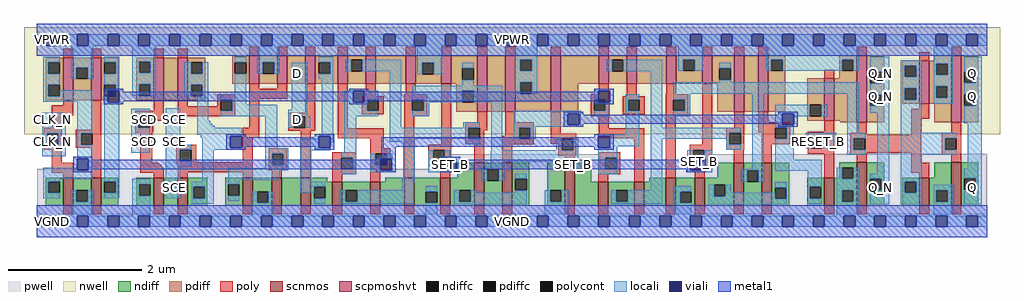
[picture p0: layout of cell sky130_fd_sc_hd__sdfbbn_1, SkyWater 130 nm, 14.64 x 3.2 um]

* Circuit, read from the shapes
.subckt sky130_fd_sc_hd__sdfbbn_1 CLK_N D RESET_B SCD SCE SET_B VGND VNB VPB VPWR Q Q_N
XM1 VGND CLK_N n1 VNB sky130_fd_pr__nfet_01v8 w=0.42 l=0.15
XM2 n2 n1 VGND VNB sky130_fd_pr__nfet_01v8 w=0.42 l=0.15
XM3 n3 SCD VGND VNB sky130_fd_pr__nfet_01v8 w=0.42 l=0.15
XM4 n4 SCE n3 VNB sky130_fd_pr__nfet_01v8 w=0.42 l=0.15
XM5 VGND SCE n5 VNB sky130_fd_pr__nfet_01v8 w=0.42 l=0.15
XM6 n6 n5 VGND VNB sky130_fd_pr__nfet_01v8 w=0.42 l=0.15
XM7 n4 D n6 VNB sky130_fd_pr__nfet_01v8 w=0.42 l=0.15
XM8 n7 n2 n4 VNB sky130_fd_pr__nfet_01v8 w=0.36 l=0.15
XM9 n8 n1 n7 VNB sky130_fd_pr__nfet_01v8 w=0.36 l=0.15
XM10 VGND n9 n8 VNB sky130_fd_pr__nfet_01v8 w=0.42 l=0.15
XM11 n10 SET_B VGND VNB sky130_fd_pr__nfet_01v8 w=0.42 l=0.15
XM12 n9 n7 n10 VNB sky130_fd_pr__nfet_01v8 w=0.64 l=0.15
XM13 n10 n11 n9 VNB sky130_fd_pr__nfet_01v8 w=0.64 l=0.15
XM14 n12 n9 VGND VNB sky130_fd_pr__nfet_01v8 w=0.64 l=0.15
XM15 n13 n1 n12 VNB sky130_fd_pr__nfet_01v8 w=0.36 l=0.15
XM16 n14 n2 n13 VNB sky130_fd_pr__nfet_01v8 w=0.36 l=0.15
XM17 VGND n15 n14 VNB sky130_fd_pr__nfet_01v8 w=0.42 l=0.15
XM18 n16 SET_B VGND VNB sky130_fd_pr__nfet_01v8 w=0.42 l=0.15
XM19 n15 n13 n16 VNB sky130_fd_pr__nfet_01v8 w=0.64 l=0.15
XM20 n16 n11 n15 VNB sky130_fd_pr__nfet_01v8 w=0.64 l=0.15
XM21 VGND RESET_B n11 VNB sky130_fd_pr__nfet_01v8 w=0.42 l=0.15
XM22 Q_N n15 VGND VNB sky130_fd_pr__nfet_01v8 w=0.65 l=0.15
XM23 VGND n15 n17 VNB sky130_fd_pr__nfet_01v8 w=0.42 l=0.15
XM24 Q n17 VGND VNB sky130_fd_pr__nfet_01v8 w=0.65 l=0.15
XM25 VPWR CLK_N n1 VPB sky130_fd_pr__pfet_01v8_hvt w=0.64 l=0.15
XM26 n2 n1 VPWR VPB sky130_fd_pr__pfet_01v8_hvt w=0.64 l=0.15
XM27 n18 SCD VPWR VPB sky130_fd_pr__pfet_01v8_hvt w=0.64 l=0.15
XM28 n4 n5 n18 VPB sky130_fd_pr__pfet_01v8_hvt w=0.64 l=0.15
XM29 VPWR SCE n5 VPB sky130_fd_pr__pfet_01v8_hvt w=0.42 l=0.15
XM30 n19 SCE VPWR VPB sky130_fd_pr__pfet_01v8_hvt w=0.42 l=0.15
XM31 n4 D n19 VPB sky130_fd_pr__pfet_01v8_hvt w=0.42 l=0.15
XM32 n7 n1 n4 VPB sky130_fd_pr__pfet_01v8_hvt w=0.42 l=0.15
XM33 n20 n2 n7 VPB sky130_fd_pr__pfet_01v8_hvt w=0.42 l=0.15
XM34 VPWR n9 n20 VPB sky130_fd_pr__pfet_01v8_hvt w=0.42 l=0.15
XM35 n9 SET_B VPWR VPB sky130_fd_pr__pfet_01v8_hvt w=0.42 l=0.15
XM36 n21 n7 n9 VPB sky130_fd_pr__pfet_01v8_hvt w=0.84 l=0.15
XM37 VPWR n11 n21 VPB sky130_fd_pr__pfet_01v8_hvt w=0.84 l=0.15
XM38 n22 n9 VPWR VPB sky130_fd_pr__pfet_01v8_hvt w=0.84 l=0.15
XM39 n13 n2 n22 VPB sky130_fd_pr__pfet_01v8_hvt w=0.42 l=0.15
XM40 n23 n1 n13 VPB sky130_fd_pr__pfet_01v8_hvt w=0.42 l=0.15
XM41 VPWR n15 n23 VPB sky130_fd_pr__pfet_01v8_hvt w=0.42 l=0.15
XM42 n15 SET_B VPWR VPB sky130_fd_pr__pfet_01v8_hvt w=0.42 l=0.15
XM43 n24 n13 n15 VPB sky130_fd_pr__pfet_01v8_hvt w=0.84 l=0.15
XM44 VPWR n11 n24 VPB sky130_fd_pr__pfet_01v8_hvt w=0.84 l=0.15
XM45 VPWR RESET_B n11 VPB sky130_fd_pr__pfet_01v8_hvt w=0.64 l=0.15
XM46 Q_N n15 VPWR VPB sky130_fd_pr__pfet_01v8_hvt w=1 l=0.15
XM47 VPWR n15 n17 VPB sky130_fd_pr__pfet_01v8_hvt w=0.64 l=0.15
XM48 Q n17 VPWR VPB sky130_fd_pr__pfet_01v8_hvt w=1 l=0.15
.ends

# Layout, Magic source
magic
tech sky130B
magscale 1 2
<< nwell >>
rect -38 261 2890 582
<< pwell >>
rect 2382 201 2851 203
rect 1236 157 1690 201
rect 2015 157 2851 201
rect 1 21 2851 157
rect 29 -17 63 21
<< scnmos >>
rect 79 47 109 131
rect 163 47 193 131
rect 351 47 381 131
rect 423 47 453 131
rect 618 47 648 131
rect 705 47 735 131
rect 792 47 822 131
rect 887 47 917 119
rect 1000 47 1030 119
rect 1102 47 1132 131
rect 1211 47 1241 131
rect 1312 47 1342 175
rect 1396 47 1426 175
rect 1584 47 1614 175
rect 1684 47 1714 119
rect 1792 47 1822 119
rect 1887 47 1917 131
rect 1974 47 2004 131
rect 2091 47 2121 175
rect 2175 47 2205 175
rect 2363 47 2393 131
rect 2460 47 2490 177
rect 2648 47 2678 131
rect 2743 47 2773 177
<< scpmoshvt >>
rect 79 363 109 491
rect 163 363 193 491
rect 351 363 381 491
rect 423 363 453 491
rect 638 413 668 497
rect 722 413 752 497
rect 806 413 836 497
rect 903 413 933 497
rect 987 413 1017 497
rect 1107 413 1137 497
rect 1213 413 1243 497
rect 1321 329 1351 497
rect 1405 329 1435 497
rect 1542 329 1572 497
rect 1686 413 1716 497
rect 1770 413 1800 497
rect 1888 413 1918 497
rect 1996 413 2026 497
rect 2092 329 2122 497
rect 2164 329 2194 497
rect 2363 301 2393 429
rect 2460 297 2490 497
rect 2648 353 2678 481
rect 2743 297 2773 497
<< ndiff >>
rect 27 119 79 131
rect 27 85 35 119
rect 69 85 79 119
rect 27 47 79 85
rect 109 93 163 131
rect 109 59 119 93
rect 153 59 163 93
rect 109 47 163 59
rect 193 119 245 131
rect 193 85 203 119
rect 237 85 245 119
rect 193 47 245 85
rect 299 111 351 131
rect 299 77 307 111
rect 341 77 351 111
rect 299 47 351 77
rect 381 47 423 131
rect 453 103 512 131
rect 453 69 470 103
rect 504 69 512 103
rect 453 47 512 69
rect 566 111 618 131
rect 566 77 574 111
rect 608 77 618 111
rect 566 47 618 77
rect 648 89 705 131
rect 648 55 661 89
rect 695 55 705 89
rect 648 47 705 55
rect 735 47 792 131
rect 822 119 872 131
rect 1262 131 1312 175
rect 1045 119 1102 131
rect 822 103 887 119
rect 822 69 832 103
rect 866 69 887 103
rect 822 47 887 69
rect 917 93 1000 119
rect 917 59 927 93
rect 961 59 1000 93
rect 917 47 1000 59
rect 1030 47 1102 119
rect 1132 89 1211 131
rect 1132 55 1167 89
rect 1201 55 1211 89
rect 1132 47 1211 55
rect 1241 93 1312 131
rect 1241 59 1268 93
rect 1302 59 1312 93
rect 1241 47 1312 59
rect 1342 156 1396 175
rect 1342 122 1352 156
rect 1386 122 1396 156
rect 1342 47 1396 122
rect 1426 127 1478 175
rect 1426 93 1436 127
rect 1470 93 1478 127
rect 1426 47 1478 93
rect 1532 93 1584 175
rect 1532 59 1540 93
rect 1574 59 1584 93
rect 1532 47 1584 59
rect 1614 119 1664 175
rect 2041 131 2091 175
rect 1837 119 1887 131
rect 1614 47 1684 119
rect 1714 93 1792 119
rect 1714 59 1739 93
rect 1773 59 1792 93
rect 1714 47 1792 59
rect 1822 47 1887 119
rect 1917 89 1974 131
rect 1917 55 1930 89
rect 1964 55 1974 89
rect 1917 47 1974 55
rect 2004 109 2091 131
rect 2004 75 2032 109
rect 2066 75 2091 109
rect 2004 47 2091 75
rect 2121 153 2175 175
rect 2121 119 2131 153
rect 2165 119 2175 153
rect 2121 47 2175 119
rect 2205 101 2257 175
rect 2408 161 2460 177
rect 2408 131 2416 161
rect 2205 67 2215 101
rect 2249 67 2257 101
rect 2205 47 2257 67
rect 2311 103 2363 131
rect 2311 69 2319 103
rect 2353 69 2363 103
rect 2311 47 2363 69
rect 2393 127 2416 131
rect 2450 127 2460 161
rect 2393 93 2460 127
rect 2393 59 2416 93
rect 2450 59 2460 93
rect 2393 47 2460 59
rect 2490 127 2542 177
rect 2693 131 2743 177
rect 2490 93 2500 127
rect 2534 93 2542 127
rect 2490 47 2542 93
rect 2596 119 2648 131
rect 2596 85 2604 119
rect 2638 85 2648 119
rect 2596 47 2648 85
rect 2678 93 2743 131
rect 2678 59 2699 93
rect 2733 59 2743 93
rect 2678 47 2743 59
rect 2773 129 2825 177
rect 2773 95 2783 129
rect 2817 95 2825 129
rect 2773 47 2825 95
<< pdiff >>
rect 27 477 79 491
rect 27 443 35 477
rect 69 443 79 477
rect 27 409 79 443
rect 27 375 35 409
rect 69 375 79 409
rect 27 363 79 375
rect 109 461 163 491
rect 109 427 119 461
rect 153 427 163 461
rect 109 363 163 427
rect 193 477 245 491
rect 193 443 203 477
rect 237 443 245 477
rect 193 409 245 443
rect 193 375 203 409
rect 237 375 245 409
rect 193 363 245 375
rect 299 479 351 491
rect 299 445 307 479
rect 341 445 351 479
rect 299 411 351 445
rect 299 377 307 411
rect 341 377 351 411
rect 299 363 351 377
rect 381 363 423 491
rect 453 477 505 491
rect 453 443 463 477
rect 497 443 505 477
rect 453 409 505 443
rect 586 477 638 497
rect 586 443 594 477
rect 628 443 638 477
rect 586 413 638 443
rect 668 477 722 497
rect 668 443 678 477
rect 712 443 722 477
rect 668 413 722 443
rect 752 413 806 497
rect 836 477 903 497
rect 836 443 846 477
rect 880 443 903 477
rect 836 413 903 443
rect 933 484 987 497
rect 933 450 943 484
rect 977 450 987 484
rect 933 413 987 450
rect 1017 413 1107 497
rect 1137 475 1213 497
rect 1137 441 1157 475
rect 1191 441 1213 475
rect 1137 413 1213 441
rect 1243 459 1321 497
rect 1243 425 1277 459
rect 1311 425 1321 459
rect 1243 413 1321 425
rect 453 375 463 409
rect 497 375 505 409
rect 453 363 505 375
rect 1259 391 1321 413
rect 1259 357 1277 391
rect 1311 357 1321 391
rect 1259 329 1321 357
rect 1351 329 1405 497
rect 1435 485 1542 497
rect 1435 451 1451 485
rect 1485 451 1542 485
rect 1435 417 1542 451
rect 1435 383 1451 417
rect 1485 383 1542 417
rect 1435 329 1542 383
rect 1572 413 1686 497
rect 1716 484 1770 497
rect 1716 450 1726 484
rect 1760 450 1770 484
rect 1716 413 1770 450
rect 1800 413 1888 497
rect 1918 485 1996 497
rect 1918 451 1940 485
rect 1974 451 1996 485
rect 1918 413 1996 451
rect 2026 459 2092 497
rect 2026 425 2048 459
rect 2082 425 2092 459
rect 2026 413 2092 425
rect 1572 329 1624 413
rect 2041 329 2092 413
rect 2122 329 2164 497
rect 2194 485 2246 497
rect 2194 451 2204 485
rect 2238 451 2246 485
rect 2408 485 2460 497
rect 2194 329 2246 451
rect 2408 451 2416 485
rect 2450 451 2460 485
rect 2408 429 2460 451
rect 2311 349 2363 429
rect 2311 315 2319 349
rect 2353 315 2363 349
rect 2311 301 2363 315
rect 2393 301 2460 429
rect 2410 297 2460 301
rect 2490 448 2542 497
rect 2693 481 2743 497
rect 2490 414 2500 448
rect 2534 414 2542 448
rect 2490 380 2542 414
rect 2490 346 2500 380
rect 2534 346 2542 380
rect 2596 467 2648 481
rect 2596 433 2604 467
rect 2638 433 2648 467
rect 2596 399 2648 433
rect 2596 365 2604 399
rect 2638 365 2648 399
rect 2596 353 2648 365
rect 2678 473 2743 481
rect 2678 439 2699 473
rect 2733 439 2743 473
rect 2678 405 2743 439
rect 2678 371 2698 405
rect 2732 371 2743 405
rect 2678 353 2743 371
rect 2490 297 2542 346
rect 2693 297 2743 353
rect 2773 449 2825 497
rect 2773 415 2783 449
rect 2817 415 2825 449
rect 2773 381 2825 415
rect 2773 347 2783 381
rect 2817 347 2825 381
rect 2773 297 2825 347
<< ndiffc >>
rect 35 85 69 119
rect 119 59 153 93
rect 203 85 237 119
rect 307 77 341 111
rect 470 69 504 103
rect 574 77 608 111
rect 661 55 695 89
rect 832 69 866 103
rect 927 59 961 93
rect 1167 55 1201 89
rect 1268 59 1302 93
rect 1352 122 1386 156
rect 1436 93 1470 127
rect 1540 59 1574 93
rect 1739 59 1773 93
rect 1930 55 1964 89
rect 2032 75 2066 109
rect 2131 119 2165 153
rect 2215 67 2249 101
rect 2319 69 2353 103
rect 2416 127 2450 161
rect 2416 59 2450 93
rect 2500 93 2534 127
rect 2604 85 2638 119
rect 2699 59 2733 93
rect 2783 95 2817 129
<< pdiffc >>
rect 35 443 69 477
rect 35 375 69 409
rect 119 427 153 461
rect 203 443 237 477
rect 203 375 237 409
rect 307 445 341 479
rect 307 377 341 411
rect 463 443 497 477
rect 594 443 628 477
rect 678 443 712 477
rect 846 443 880 477
rect 943 450 977 484
rect 1157 441 1191 475
rect 1277 425 1311 459
rect 463 375 497 409
rect 1277 357 1311 391
rect 1451 451 1485 485
rect 1451 383 1485 417
rect 1726 450 1760 484
rect 1940 451 1974 485
rect 2048 425 2082 459
rect 2204 451 2238 485
rect 2416 451 2450 485
rect 2319 315 2353 349
rect 2500 414 2534 448
rect 2500 346 2534 380
rect 2604 433 2638 467
rect 2604 365 2638 399
rect 2699 439 2733 473
rect 2698 371 2732 405
rect 2783 415 2817 449
rect 2783 347 2817 381
<< poly >>
rect 79 491 109 517
rect 163 491 193 517
rect 351 491 381 517
rect 423 491 453 517
rect 638 497 668 523
rect 722 497 752 523
rect 806 497 836 523
rect 903 497 933 523
rect 987 497 1017 523
rect 1107 497 1137 523
rect 1213 497 1243 523
rect 1321 497 1351 523
rect 1405 497 1435 523
rect 1542 497 1572 523
rect 1686 497 1716 523
rect 1770 497 1800 523
rect 1888 497 1918 523
rect 1996 497 2026 523
rect 2092 497 2122 523
rect 2164 497 2194 523
rect 2460 497 2490 523
rect 638 397 668 413
rect 722 397 752 413
rect 542 365 596 381
rect 79 348 109 363
rect 45 318 109 348
rect 45 280 75 318
rect 21 264 75 280
rect 163 274 193 363
rect 351 331 381 363
rect 21 230 31 264
rect 65 230 75 264
rect 21 214 75 230
rect 117 264 193 274
rect 295 315 381 331
rect 423 345 453 363
rect 542 345 552 365
rect 423 331 552 345
rect 586 331 596 365
rect 423 318 596 331
rect 638 367 752 397
rect 423 317 594 318
rect 423 315 592 317
rect 295 281 305 315
rect 339 301 381 315
rect 339 281 349 301
rect 638 281 668 367
rect 806 325 836 413
rect 295 265 349 281
rect 117 230 133 264
rect 167 230 193 264
rect 117 220 193 230
rect 45 176 75 214
rect 45 146 109 176
rect 79 131 109 146
rect 163 131 193 220
rect 311 176 346 265
rect 618 251 668 281
rect 755 315 836 325
rect 755 281 771 315
rect 805 281 836 315
rect 755 271 836 281
rect 903 279 933 413
rect 987 375 1017 413
rect 1107 381 1137 413
rect 975 365 1041 375
rect 975 331 991 365
rect 1025 331 1041 365
rect 975 321 1041 331
rect 1102 365 1171 381
rect 1102 331 1127 365
rect 1161 331 1171 365
rect 1102 315 1171 331
rect 418 214 479 230
rect 418 180 429 214
rect 463 180 479 214
rect 418 177 479 180
rect 618 177 648 251
rect 311 174 362 176
rect 419 175 648 177
rect 311 172 366 174
rect 420 173 648 175
rect 311 170 369 172
rect 421 170 648 173
rect 311 169 371 170
rect 311 167 373 169
rect 422 167 648 170
rect 311 164 375 167
rect 311 161 377 164
rect 311 157 379 161
rect 311 146 381 157
rect 351 131 381 146
rect 423 147 648 167
rect 696 203 750 219
rect 696 169 706 203
rect 740 169 750 203
rect 696 153 750 169
rect 423 131 453 147
rect 618 131 648 147
rect 705 131 735 153
rect 792 131 822 271
rect 903 249 1041 279
rect 1000 219 1041 249
rect 887 191 958 207
rect 887 157 914 191
rect 948 157 958 191
rect 887 141 958 157
rect 1000 203 1060 219
rect 1000 169 1016 203
rect 1050 169 1060 203
rect 1000 153 1060 169
rect 887 119 917 141
rect 1000 119 1030 153
rect 1102 131 1132 315
rect 1213 229 1243 413
rect 1686 381 1716 413
rect 1662 365 1716 381
rect 1770 375 1800 413
rect 1888 381 1918 413
rect 1662 331 1672 365
rect 1706 331 1716 365
rect 1321 297 1351 329
rect 1285 281 1351 297
rect 1285 247 1295 281
rect 1329 273 1351 281
rect 1405 297 1435 329
rect 1405 281 1491 297
rect 1329 247 1342 273
rect 1405 257 1447 281
rect 1285 231 1342 247
rect 1174 213 1243 229
rect 1174 179 1190 213
rect 1224 179 1241 213
rect 1174 163 1241 179
rect 1312 175 1342 231
rect 1396 247 1447 257
rect 1481 247 1491 281
rect 1396 231 1491 247
rect 1542 263 1572 329
rect 1662 315 1716 331
rect 1758 365 1824 375
rect 1758 331 1774 365
rect 1808 331 1824 365
rect 1758 321 1824 331
rect 1887 365 1954 381
rect 1887 331 1910 365
rect 1944 331 1954 365
rect 1686 279 1716 315
rect 1887 315 1954 331
rect 1542 247 1619 263
rect 1686 249 1822 279
rect 1542 233 1575 247
rect 1396 175 1426 231
rect 1565 213 1575 233
rect 1609 213 1619 247
rect 1565 197 1619 213
rect 1584 175 1614 197
rect 1684 191 1750 207
rect 1211 131 1241 163
rect 1684 157 1706 191
rect 1740 157 1750 191
rect 1684 141 1750 157
rect 1684 119 1714 141
rect 1792 119 1822 249
rect 1887 131 1917 315
rect 1996 229 2026 413
rect 2363 429 2393 455
rect 2092 281 2122 329
rect 1959 213 2026 229
rect 2068 265 2122 281
rect 2164 297 2194 329
rect 2164 281 2260 297
rect 2164 267 2216 281
rect 2068 231 2078 265
rect 2112 231 2122 265
rect 2068 215 2122 231
rect 2175 247 2216 267
rect 2250 247 2260 281
rect 2363 269 2393 301
rect 2648 481 2678 507
rect 2743 497 2773 523
rect 2648 337 2678 353
rect 2623 307 2678 337
rect 2175 231 2260 247
rect 2313 253 2393 269
rect 2460 265 2490 297
rect 1959 179 1969 213
rect 2003 179 2026 213
rect 1959 163 2026 179
rect 2091 175 2121 215
rect 2175 175 2205 231
rect 2313 219 2323 253
rect 2357 219 2393 253
rect 2313 203 2393 219
rect 1974 131 2004 163
rect 2363 131 2393 203
rect 2441 259 2490 265
rect 2623 259 2653 307
rect 2743 265 2773 297
rect 2441 249 2653 259
rect 2441 215 2451 249
rect 2485 215 2653 249
rect 2441 205 2653 215
rect 2441 199 2490 205
rect 2460 177 2490 199
rect 2623 176 2653 205
rect 2715 249 2773 265
rect 2715 215 2725 249
rect 2759 215 2773 249
rect 2715 199 2773 215
rect 2743 177 2773 199
rect 2623 146 2678 176
rect 2648 131 2678 146
rect 79 21 109 47
rect 163 21 193 47
rect 351 21 381 47
rect 423 21 453 47
rect 618 21 648 47
rect 705 21 735 47
rect 792 21 822 47
rect 887 21 917 47
rect 1000 21 1030 47
rect 1102 21 1132 47
rect 1211 21 1241 47
rect 1312 21 1342 47
rect 1396 21 1426 47
rect 1584 21 1614 47
rect 1684 21 1714 47
rect 1792 21 1822 47
rect 1887 21 1917 47
rect 1974 21 2004 47
rect 2091 21 2121 47
rect 2175 21 2205 47
rect 2363 21 2393 47
rect 2460 21 2490 47
rect 2648 21 2678 47
rect 2743 21 2773 47
<< polycont >>
rect 31 230 65 264
rect 552 331 586 365
rect 305 281 339 315
rect 133 230 167 264
rect 771 281 805 315
rect 991 331 1025 365
rect 1127 331 1161 365
rect 429 180 463 214
rect 706 169 740 203
rect 914 157 948 191
rect 1016 169 1050 203
rect 1672 331 1706 365
rect 1295 247 1329 281
rect 1190 179 1224 213
rect 1447 247 1481 281
rect 1774 331 1808 365
rect 1910 331 1944 365
rect 1575 213 1609 247
rect 1706 157 1740 191
rect 2078 231 2112 265
rect 2216 247 2250 281
rect 1969 179 2003 213
rect 2323 219 2357 253
rect 2451 215 2485 249
rect 2725 215 2759 249
<< locali >>
rect 0 527 29 561
rect 63 527 121 561
rect 155 527 213 561
rect 247 527 305 561
rect 339 527 397 561
rect 431 527 489 561
rect 523 527 581 561
rect 615 527 673 561
rect 707 527 765 561
rect 799 527 857 561
rect 891 527 949 561
rect 983 527 1041 561
rect 1075 527 1133 561
rect 1167 527 1225 561
rect 1259 527 1317 561
rect 1351 527 1409 561
rect 1443 527 1501 561
rect 1535 527 1593 561
rect 1627 527 1685 561
rect 1719 527 1777 561
rect 1811 527 1869 561
rect 1903 527 1961 561
rect 1995 527 2053 561
rect 2087 527 2145 561
rect 2179 527 2237 561
rect 2271 527 2329 561
rect 2363 527 2421 561
rect 2455 527 2513 561
rect 2547 527 2605 561
rect 2639 527 2697 561
rect 2731 527 2789 561
rect 2823 527 2852 561
rect 19 477 69 493
rect 19 443 35 477
rect 19 409 69 443
rect 103 461 169 527
rect 103 427 119 461
rect 153 427 169 461
rect 203 477 247 493
rect 237 443 247 477
rect 19 375 35 409
rect 203 409 247 443
rect 69 375 167 393
rect 19 359 167 375
rect 17 264 87 325
rect 17 230 31 264
rect 65 230 87 264
rect 17 195 87 230
rect 121 264 167 359
rect 121 230 133 264
rect 121 187 167 230
rect 19 153 121 161
rect 155 153 167 187
rect 19 127 167 153
rect 237 391 247 409
rect 286 479 357 527
rect 286 445 307 479
rect 341 445 357 479
rect 594 477 628 493
rect 286 411 357 445
rect 286 377 307 411
rect 341 377 357 411
rect 443 443 463 477
rect 497 443 515 477
rect 443 409 515 443
rect 443 375 463 409
rect 497 375 515 409
rect 662 477 728 527
rect 662 443 678 477
rect 712 443 728 477
rect 846 477 889 493
rect 594 381 628 443
rect 203 357 213 375
rect 19 119 69 127
rect 19 85 35 119
rect 203 119 247 357
rect 283 315 339 337
rect 283 281 305 315
rect 283 205 339 281
rect 387 230 431 339
rect 481 301 515 375
rect 552 365 628 381
rect 586 349 628 365
rect 586 331 721 349
rect 765 335 812 475
rect 880 443 889 477
rect 927 450 943 484
rect 977 450 1093 484
rect 846 427 889 443
rect 552 315 721 331
rect 481 293 521 301
rect 481 286 526 293
rect 481 281 534 286
rect 481 259 615 281
rect 492 255 615 259
rect 492 251 581 255
rect 387 214 463 230
rect 387 180 429 214
rect 387 163 463 180
rect 497 221 581 251
rect 497 215 615 221
rect 686 219 721 315
rect 755 315 812 335
rect 755 281 771 315
rect 805 281 821 315
rect 855 261 889 427
rect 849 255 889 261
rect 845 247 846 255
rect 790 221 846 247
rect 880 235 889 255
rect 923 357 949 391
rect 983 365 1025 391
rect 983 357 991 365
rect 923 331 991 357
rect 923 315 1025 331
rect 880 221 882 235
rect 19 69 69 85
rect 103 59 119 93
rect 153 59 169 93
rect 237 85 247 119
rect 203 69 247 85
rect 286 111 341 127
rect 286 77 307 111
rect 103 17 169 59
rect 286 17 341 77
rect 387 69 431 163
rect 497 119 531 215
rect 686 203 754 219
rect 686 169 706 203
rect 740 169 754 203
rect 686 159 754 169
rect 465 103 531 119
rect 465 69 470 103
rect 504 69 531 103
rect 465 53 531 69
rect 574 153 754 159
rect 790 213 880 221
rect 574 125 729 153
rect 574 111 608 125
rect 790 119 824 213
rect 923 207 958 315
rect 1059 281 1093 450
rect 1141 475 1217 527
rect 1435 485 1501 527
rect 1141 441 1157 475
rect 1191 441 1217 475
rect 1277 459 1311 475
rect 1277 407 1311 425
rect 1435 451 1451 485
rect 1485 451 1501 485
rect 1924 485 2000 527
rect 1435 417 1501 451
rect 1710 450 1726 484
rect 1760 450 1876 484
rect 1924 451 1940 485
rect 1974 451 2000 485
rect 2188 485 2466 527
rect 2048 459 2082 475
rect 1127 391 1397 407
rect 1127 365 1277 391
rect 1161 357 1277 365
rect 1311 357 1397 391
rect 1435 383 1451 417
rect 1485 383 1501 417
rect 1672 391 1719 397
rect 1161 331 1177 357
rect 1127 315 1177 331
rect 1279 281 1329 297
rect 1059 247 1295 281
rect 1059 239 1134 247
rect 914 191 958 207
rect 948 157 958 191
rect 914 141 958 157
rect 1000 169 1016 203
rect 1050 187 1066 203
rect 1000 153 1031 169
rect 1065 153 1066 187
rect 1000 147 1066 153
rect 1100 131 1134 239
rect 1285 231 1329 247
rect 1363 213 1397 357
rect 1672 365 1685 391
rect 1706 331 1719 357
rect 1431 323 1632 331
rect 1431 289 1593 323
rect 1627 289 1632 323
rect 1672 315 1719 331
rect 1767 365 1808 381
rect 1767 331 1774 365
rect 1431 283 1632 289
rect 1431 281 1497 283
rect 1431 247 1447 281
rect 1481 247 1497 281
rect 1767 261 1808 331
rect 1684 255 1808 261
rect 1559 213 1575 247
rect 1609 213 1625 247
rect 1174 179 1190 213
rect 1224 193 1243 213
rect 1363 212 1625 213
rect 1224 187 1259 193
rect 1224 179 1225 187
rect 1174 153 1225 179
rect 1362 179 1625 212
rect 1684 221 1685 255
rect 1719 225 1808 255
rect 1842 281 1876 450
rect 2188 451 2204 485
rect 2238 451 2416 485
rect 2450 451 2466 485
rect 2048 417 2082 425
rect 2500 448 2557 493
rect 1910 383 2466 417
rect 1910 365 1960 383
rect 1944 331 1960 365
rect 1910 315 1960 331
rect 1842 265 2112 281
rect 1842 247 2078 265
rect 1719 221 1741 225
rect 1684 191 1741 221
rect 1362 156 1402 179
rect 1174 147 1259 153
rect 790 103 866 119
rect 574 61 608 77
rect 645 55 661 89
rect 695 55 711 89
rect 790 85 832 103
rect 645 17 711 55
rect 1097 117 1134 131
rect 1336 122 1352 156
rect 1386 122 1402 156
rect 1684 157 1706 191
rect 1740 157 1741 191
rect 1436 127 1470 143
rect 1684 141 1741 157
rect 1097 93 1131 117
rect 832 53 866 69
rect 911 59 927 93
rect 961 59 1131 93
rect 911 53 1131 59
rect 1167 89 1201 105
rect 1842 93 1876 247
rect 2068 231 2078 247
rect 2068 215 2112 231
rect 1951 187 1969 213
rect 1951 153 1961 187
rect 2003 179 2026 213
rect 1995 153 2026 179
rect 2146 156 2181 383
rect 1951 147 2026 153
rect 2115 153 2181 156
rect 2115 119 2131 153
rect 2165 119 2181 153
rect 2216 323 2319 349
rect 2216 289 2237 323
rect 2271 315 2319 323
rect 2353 315 2371 349
rect 2216 281 2271 289
rect 2250 247 2271 281
rect 2432 265 2466 383
rect 2534 414 2557 448
rect 2500 380 2557 414
rect 2534 346 2557 380
rect 2500 326 2557 346
rect 2216 185 2271 247
rect 2307 253 2398 265
rect 2307 219 2323 253
rect 2357 219 2398 253
rect 2432 249 2485 265
rect 2432 215 2451 249
rect 2432 199 2485 215
rect 2216 151 2355 185
rect 1167 17 1201 55
rect 1252 59 1268 93
rect 1302 85 1318 93
rect 1436 85 1470 93
rect 1302 59 1470 85
rect 1252 51 1470 59
rect 1524 59 1540 93
rect 1574 59 1595 93
rect 1524 17 1595 59
rect 1723 59 1739 93
rect 1773 59 1876 93
rect 1723 53 1876 59
rect 1912 89 1964 105
rect 1912 55 1930 89
rect 1912 17 1964 55
rect 2016 75 2032 109
rect 2066 85 2082 109
rect 2215 101 2250 117
rect 2066 75 2215 85
rect 2016 67 2215 75
rect 2249 67 2250 101
rect 2016 51 2250 67
rect 2313 103 2355 151
rect 2313 69 2319 103
rect 2353 69 2355 103
rect 2313 53 2355 69
rect 2400 127 2416 161
rect 2450 127 2466 161
rect 2521 143 2557 326
rect 2400 93 2466 127
rect 2400 59 2416 93
rect 2450 59 2466 93
rect 2400 17 2466 59
rect 2500 127 2557 143
rect 2534 93 2557 127
rect 2500 51 2557 93
rect 2592 467 2655 483
rect 2592 433 2604 467
rect 2638 433 2655 467
rect 2592 399 2655 433
rect 2592 365 2604 399
rect 2638 365 2655 399
rect 2592 265 2655 365
rect 2691 473 2748 527
rect 2691 439 2699 473
rect 2733 439 2748 473
rect 2691 405 2748 439
rect 2691 371 2698 405
rect 2732 371 2748 405
rect 2691 353 2748 371
rect 2783 449 2835 493
rect 2817 415 2835 449
rect 2783 381 2835 415
rect 2817 347 2835 381
rect 2783 294 2835 347
rect 2592 249 2759 265
rect 2592 215 2725 249
rect 2592 199 2759 215
rect 2592 119 2655 199
rect 2793 157 2835 294
rect 2592 85 2604 119
rect 2638 85 2655 119
rect 2783 129 2835 157
rect 2592 51 2655 85
rect 2691 93 2749 109
rect 2691 59 2699 93
rect 2733 59 2749 93
rect 2691 17 2749 59
rect 2817 95 2835 129
rect 2783 51 2835 95
rect 0 -17 29 17
rect 63 -17 121 17
rect 155 -17 213 17
rect 247 -17 305 17
rect 339 -17 397 17
rect 431 -17 489 17
rect 523 -17 581 17
rect 615 -17 673 17
rect 707 -17 765 17
rect 799 -17 857 17
rect 891 -17 949 17
rect 983 -17 1041 17
rect 1075 -17 1133 17
rect 1167 -17 1225 17
rect 1259 -17 1317 17
rect 1351 -17 1409 17
rect 1443 -17 1501 17
rect 1535 -17 1593 17
rect 1627 -17 1685 17
rect 1719 -17 1777 17
rect 1811 -17 1869 17
rect 1903 -17 1961 17
rect 1995 -17 2053 17
rect 2087 -17 2145 17
rect 2179 -17 2237 17
rect 2271 -17 2329 17
rect 2363 -17 2421 17
rect 2455 -17 2513 17
rect 2547 -17 2605 17
rect 2639 -17 2697 17
rect 2731 -17 2789 17
rect 2823 -17 2852 17
<< viali >>
rect 29 527 63 561
rect 121 527 155 561
rect 213 527 247 561
rect 305 527 339 561
rect 397 527 431 561
rect 489 527 523 561
rect 581 527 615 561
rect 673 527 707 561
rect 765 527 799 561
rect 857 527 891 561
rect 949 527 983 561
rect 1041 527 1075 561
rect 1133 527 1167 561
rect 1225 527 1259 561
rect 1317 527 1351 561
rect 1409 527 1443 561
rect 1501 527 1535 561
rect 1593 527 1627 561
rect 1685 527 1719 561
rect 1777 527 1811 561
rect 1869 527 1903 561
rect 1961 527 1995 561
rect 2053 527 2087 561
rect 2145 527 2179 561
rect 2237 527 2271 561
rect 2329 527 2363 561
rect 2421 527 2455 561
rect 2513 527 2547 561
rect 2605 527 2639 561
rect 2697 527 2731 561
rect 2789 527 2823 561
rect 121 153 155 187
rect 213 375 237 391
rect 237 375 247 391
rect 213 357 247 375
rect 581 221 615 255
rect 846 221 880 255
rect 949 357 983 391
rect 1031 169 1050 187
rect 1050 169 1065 187
rect 1031 153 1065 169
rect 1685 365 1719 391
rect 1685 357 1706 365
rect 1706 357 1719 365
rect 1593 289 1627 323
rect 1225 153 1259 187
rect 1685 221 1719 255
rect 1961 179 1969 187
rect 1969 179 1995 187
rect 1961 153 1995 179
rect 2237 289 2271 323
rect 29 -17 63 17
rect 121 -17 155 17
rect 213 -17 247 17
rect 305 -17 339 17
rect 397 -17 431 17
rect 489 -17 523 17
rect 581 -17 615 17
rect 673 -17 707 17
rect 765 -17 799 17
rect 857 -17 891 17
rect 949 -17 983 17
rect 1041 -17 1075 17
rect 1133 -17 1167 17
rect 1225 -17 1259 17
rect 1317 -17 1351 17
rect 1409 -17 1443 17
rect 1501 -17 1535 17
rect 1593 -17 1627 17
rect 1685 -17 1719 17
rect 1777 -17 1811 17
rect 1869 -17 1903 17
rect 1961 -17 1995 17
rect 2053 -17 2087 17
rect 2145 -17 2179 17
rect 2237 -17 2271 17
rect 2329 -17 2363 17
rect 2421 -17 2455 17
rect 2513 -17 2547 17
rect 2605 -17 2639 17
rect 2697 -17 2731 17
rect 2789 -17 2823 17
<< metal1 >>
rect 0 561 2852 592
rect 0 527 29 561
rect 63 527 121 561
rect 155 527 213 561
rect 247 527 305 561
rect 339 527 397 561
rect 431 527 489 561
rect 523 527 581 561
rect 615 527 673 561
rect 707 527 765 561
rect 799 527 857 561
rect 891 527 949 561
rect 983 527 1041 561
rect 1075 527 1133 561
rect 1167 527 1225 561
rect 1259 527 1317 561
rect 1351 527 1409 561
rect 1443 527 1501 561
rect 1535 527 1593 561
rect 1627 527 1685 561
rect 1719 527 1777 561
rect 1811 527 1869 561
rect 1903 527 1961 561
rect 1995 527 2053 561
rect 2087 527 2145 561
rect 2179 527 2237 561
rect 2271 527 2329 561
rect 2363 527 2421 561
rect 2455 527 2513 561
rect 2547 527 2605 561
rect 2639 527 2697 561
rect 2731 527 2789 561
rect 2823 527 2852 561
rect 0 496 2852 527
rect 201 391 259 397
rect 201 357 213 391
rect 247 388 259 391
rect 937 391 995 397
rect 937 388 949 391
rect 247 360 949 388
rect 247 357 259 360
rect 201 351 259 357
rect 937 357 949 360
rect 983 388 995 391
rect 1673 391 1731 397
rect 1673 388 1685 391
rect 983 360 1685 388
rect 983 357 995 360
rect 937 351 995 357
rect 1673 357 1685 360
rect 1719 357 1731 391
rect 1673 351 1731 357
rect 1581 323 1639 329
rect 1581 289 1593 323
rect 1627 320 1639 323
rect 2225 323 2283 329
rect 2225 320 2237 323
rect 1627 292 2237 320
rect 1627 289 1639 292
rect 1581 283 1639 289
rect 2225 289 2237 292
rect 2271 289 2283 323
rect 2225 283 2283 289
rect 569 255 627 261
rect 569 221 581 255
rect 615 252 627 255
rect 834 255 892 261
rect 834 252 846 255
rect 615 224 846 252
rect 615 221 627 224
rect 569 215 627 221
rect 834 221 846 224
rect 880 221 892 255
rect 1673 255 1731 261
rect 1673 252 1685 255
rect 834 215 892 221
rect 1034 224 1685 252
rect 1034 193 1077 224
rect 1673 221 1685 224
rect 1719 221 1731 255
rect 1673 215 1731 221
rect 109 187 167 193
rect 109 153 121 187
rect 155 184 167 187
rect 1019 187 1077 193
rect 1019 184 1031 187
rect 155 156 1031 184
rect 155 153 167 156
rect 109 147 167 153
rect 1019 153 1031 156
rect 1065 153 1077 187
rect 1019 147 1077 153
rect 1213 187 1271 193
rect 1213 153 1225 187
rect 1259 184 1271 187
rect 1949 187 2007 193
rect 1949 184 1961 187
rect 1259 156 1961 184
rect 1259 153 1271 156
rect 1213 147 1271 153
rect 1949 153 1961 156
rect 1995 153 2007 187
rect 1949 147 2007 153
rect 0 17 2852 48
rect 0 -17 29 17
rect 63 -17 121 17
rect 155 -17 213 17
rect 247 -17 305 17
rect 339 -17 397 17
rect 431 -17 489 17
rect 523 -17 581 17
rect 615 -17 673 17
rect 707 -17 765 17
rect 799 -17 857 17
rect 891 -17 949 17
rect 983 -17 1041 17
rect 1075 -17 1133 17
rect 1167 -17 1225 17
rect 1259 -17 1317 17
rect 1351 -17 1409 17
rect 1443 -17 1501 17
rect 1535 -17 1593 17
rect 1627 -17 1685 17
rect 1719 -17 1777 17
rect 1811 -17 1869 17
rect 1903 -17 1961 17
rect 1995 -17 2053 17
rect 2087 -17 2145 17
rect 2179 -17 2237 17
rect 2271 -17 2329 17
rect 2363 -17 2421 17
rect 2455 -17 2513 17
rect 2547 -17 2605 17
rect 2639 -17 2697 17
rect 2731 -17 2789 17
rect 2823 -17 2852 17
rect 0 -48 2852 -17
<< labels >>
flabel locali s 305 289 339 323 0 FreeSans 400 0 0 0 SCD
port 4 nsew signal input
flabel locali s 305 221 339 255 0 FreeSans 400 0 0 0 SCD
port 4 nsew signal input
flabel locali s 397 289 431 323 0 FreeSans 400 0 0 0 SCE
port 5 nsew signal input
flabel locali s 397 221 431 255 0 FreeSans 400 0 0 0 SCE
port 5 nsew signal input
flabel locali s 397 85 431 119 0 FreeSans 400 0 0 0 SCE
port 5 nsew signal input
flabel locali s 2329 221 2363 255 0 FreeSans 400 0 0 0 RESET_B
port 3 nsew signal input
flabel locali s 29 -17 63 17 3 FreeSans 400 0 0 0 VGND
port 7 nsew ground bidirectional abutment
flabel locali s 29 221 63 255 0 FreeSans 400 0 0 0 CLK_N
port 1 nsew clock input
flabel locali s 29 289 63 323 0 FreeSans 400 0 0 0 CLK_N
port 1 nsew clock input
flabel locali s 1225 153 1259 187 0 FreeSans 400 0 0 0 SET_B
port 6 nsew signal input
flabel locali s 2789 85 2823 119 0 FreeSans 400 0 0 0 Q
port 11 nsew signal output
flabel locali s 2789 357 2823 391 0 FreeSans 400 0 0 0 Q
port 11 nsew signal output
flabel locali s 2789 425 2823 459 0 FreeSans 400 0 0 0 Q
port 11 nsew signal output
flabel locali s 29 527 63 561 3 FreeSans 400 0 0 0 VPWR
port 10 nsew power bidirectional abutment
flabel locali s 765 289 799 323 0 FreeSans 200 0 0 0 D
port 2 nsew signal input
flabel locali s 765 425 799 459 0 FreeSans 200 0 0 0 D
port 2 nsew signal input
flabel locali s 2513 425 2547 459 0 FreeSans 400 0 0 0 Q_N
port 12 nsew signal output
flabel locali s 2513 357 2547 391 0 FreeSans 400 0 0 0 Q_N
port 12 nsew signal output
flabel locali s 2513 85 2547 119 0 FreeSans 400 0 0 0 Q_N
port 12 nsew signal output
flabel metal1 s 29 -17 63 17 0 FreeSans 200 0 0 0 VGND
port 7 nsew ground bidirectional abutment
flabel metal1 s 29 527 63 561 0 FreeSans 200 0 0 0 VPWR
port 10 nsew power bidirectional abutment
flabel nwell s 29 527 63 561 3 FreeSans 400 0 0 0 VPB
port 9 nsew power bidirectional
flabel nwell s 46 544 46 544 0 FreeSans 200 0 0 0 VPB
flabel pwell s 29 -17 63 17 3 FreeSans 400 0 0 0 VNB
port 8 nsew ground bidirectional
flabel pwell s 46 0 46 0 0 FreeSans 200 0 0 0 VNB
rlabel comment s 0 0 0 0 4 sdfbbn_1
rlabel locali s 1951 147 2026 213 1 SET_B
port 6 nsew signal input
rlabel metal1 s 1949 184 2007 193 1 SET_B
port 6 nsew signal input
rlabel metal1 s 1949 147 2007 156 1 SET_B
port 6 nsew signal input
rlabel metal1 s 1213 184 1271 193 1 SET_B
port 6 nsew signal input
rlabel metal1 s 1213 156 2007 184 1 SET_B
port 6 nsew signal input
rlabel metal1 s 1213 147 1271 156 1 SET_B
port 6 nsew signal input
rlabel metal1 s 0 -48 2852 48 1 VGND
port 7 nsew ground bidirectional abutment
rlabel metal1 s 0 496 2852 592 1 VPWR
port 10 nsew power bidirectional abutment
<< properties >>
string FIXED_BBOX 0 0 2852 544
string GDS_END 54774
string GDS_FILE $PDKPATH/libs.ref/sky130_fd_sc_hd/gds/sky130_fd_sc_hd.gds
string GDS_START 31832
string LEFclass CORE
string LEFsite unithd
string LEFsymmetry X Y R90
<< end >>
